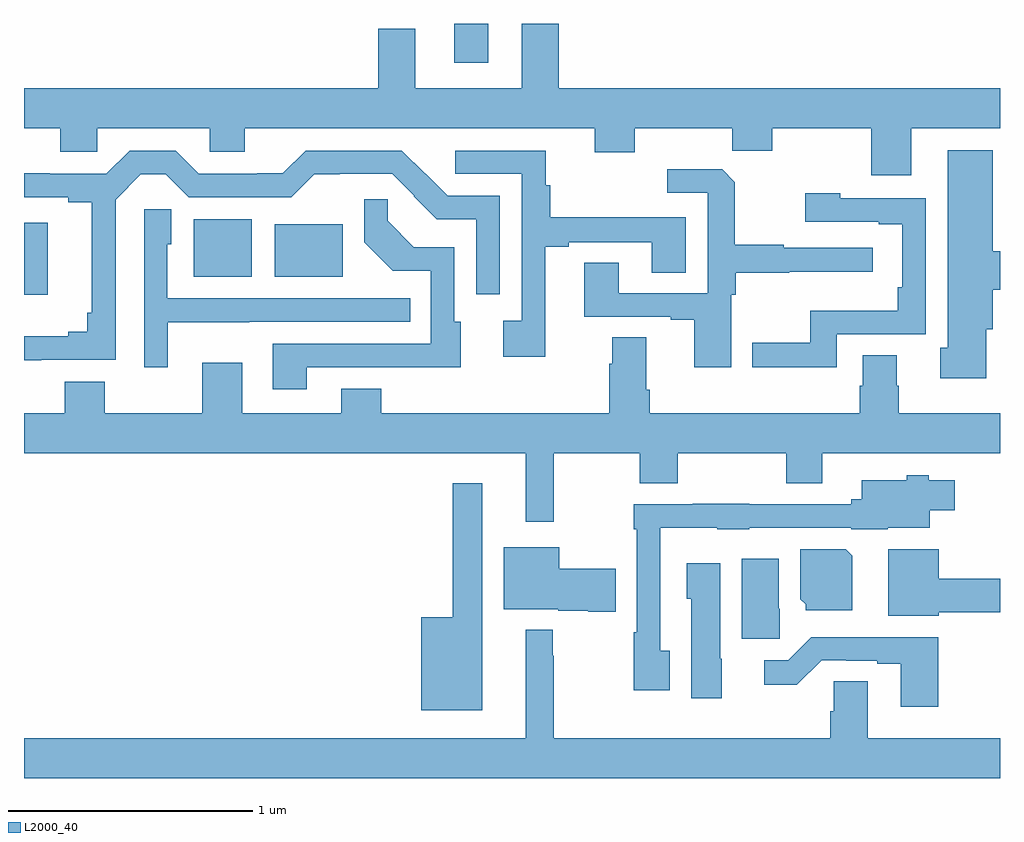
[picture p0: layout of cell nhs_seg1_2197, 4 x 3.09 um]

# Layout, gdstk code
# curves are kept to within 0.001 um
import gdstk
lib = gdstk.Library(unit=1e-6, precision=1e-09)
def R(c, l, rs):  # rectangles x0, y0, x1, y1
    for r in rs: c.add(gdstk.rectangle(r[:2], r[2:], *l))
def P(c, l, *ps):  # polygons
    for p in ps: c.add(gdstk.Polygon(p, *l))
L2000_40 = (2000, 40)

nhs_seg1_2197 = lib.new_cell('nhs_seg1_2197')
R(nhs_seg1_2197, L2000_40, [(231,511.088,231.097,511.384), (231.695,511.163,231.934,511.399), (232.028,511.163,232.306,511.378), (232.763,512.04,232.903,512.199)])
P(nhs_seg1_2197, L2000_40, [(233.192,512.199),(233.039,512.199),(233.039,511.936),(232.603,511.936),(232.603,512.179),(232.451,512.179),(232.451,511.936),(231,511.936),(231,511.772),(231.149,511.772),(231.149,511.674),(231.3,511.674),(231.3,511.772),(231.762,511.772),(231.762,511.674),(231.904,511.674),(231.904,511.772),(233.339,511.772),(233.339,511.673),(233.503,511.673),(233.503,511.772),(233.903,511.772),(233.903,511.679),(234.067,511.679),(234.067,511.772),(234.473,511.772),(234.473,511.578),(234.637,511.578),(234.637,511.772),(235,511.772),(235,511.936),(233.192,511.936)],
  [(234.943,510.948),(234.97,510.948),(234.97,511.109),(235,511.109),(235,511.267),(234.97,511.267),(234.97,511.681),(234.785,511.681),(234.785,510.872),(234.755,510.872),(234.755,510.746),(234.943,510.746)],
  [(233.137,511.285),(233.233,511.285),(233.233,511.305),(233.573,511.305),(233.573,511.18),(233.713,511.18),(233.713,511.406),(233.156,511.406),(233.156,511.538),(233.138,511.538),(233.138,511.68),(232.767,511.68),(232.767,511.584),(233.04,511.584),(233.04,510.982),(232.965,510.982),(232.965,510.834),(233.137,510.834)],
  [(231.071,510.822),(231.375,510.822),(231.375,511.479),(231.479,511.583),(231.58,511.583),(231.675,511.488),(232.095,511.488),(232.19,511.583),(232.509,511.584),(232.599,511.494),(232.597,511.492),(232.691,511.398),(232.854,511.398),(232.854,511.092),(232.95,511.092),(232.95,511.494),(232.737,511.494),(232.549,511.68),(232.155,511.68),(232.061,511.586),(231.956,511.586),(231.956,511.584),(231.717,511.584),(231.621,511.68),(231.434,511.68),(231.338,511.584),(231.105,511.584),(231.105,511.586),(231,511.586),(231,511.488),(231.182,511.488),(231.182,511.468),(231.278,511.468),(231.278,511.015),(231.259,511.015),(231.259,510.938),(231.182,510.938),(231.182,510.919),(231,510.919),(231,510.821)],
  [(233.898,511.088),(233.918,511.088),(233.918,511.18),(234.137,511.18),(234.137,511.184),(234.478,511.184),(234.478,511.281),(234.113,511.281),(234.113,511.294),(233.913,511.294),(233.913,511.551),(233.861,511.603),(233.637,511.603),(233.637,511.506),(233.802,511.506),(233.802,511.095),(233.437,511.095),(233.437,511.22),(233.297,511.22),(233.297,510.999),(233.651,510.999),(233.651,510.987),(233.747,510.987),(233.747,510.792),(233.898,510.792)],
  [(234.33,510.927),(234.696,510.927),(234.696,511.485),(234.345,511.485),(234.345,511.504),(234.201,511.504),(234.201,511.389),(234.503,511.389),(234.503,511.377),(234.6,511.377),(234.6,511.12),(234.58,511.12),(234.58,511.024),(234.222,511.024),(234.222,510.893),(233.985,510.893),(233.985,510.791),(234.33,510.791)],
  [(232.159,510.792),(232.789,510.791),(232.789,510.978),(232.764,510.978),(232.764,511.284),(232.598,511.284),(232.49,511.392),(232.49,511.48),(232.395,511.48),(232.395,511.304),(232.511,511.188),(232.668,511.188),(232.668,510.888),(232.019,510.888),(232.019,510.702),(232.159,510.702)],
  [(231.589,510.977),(231.923,510.977),(231.923,510.978),(232.583,510.978),(232.583,511.074),(231.588,511.074),(231.588,511.296),(231.604,511.296),(231.604,511.439),(231.492,511.439),(231.492,510.792),(231.589,510.792)],
  [(234.577,510.717),(234.577,510.842),(234.437,510.842),(234.437,510.717),(234.425,510.717),(234.425,510.604),(233.564,510.604),(233.564,510.7),(233.551,510.7),(233.551,510.914),(233.411,510.914),(233.411,510.806),(233.399,510.806),(233.399,510.604),(232.465,510.604),(232.465,510.703),(232.301,510.703),(232.301,510.604),(231.895,510.604),(231.895,510.811),(231.731,510.811),(231.731,510.604),(231.331,510.604),(231.331,510.733),(231.167,510.733),(231.167,510.604),(231,510.604),(231,510.44),(233.057,510.44),(233.057,510.159),(233.171,510.159),(233.171,510.44),(233.524,510.44),(233.524,510.316),(233.679,510.316),(233.679,510.44),(234.124,510.44),(234.124,510.316),(234.271,510.316),(234.271,510.44),(235,510.44),(235,510.604),(234.585,510.604),(234.585,510.717)],
  [(233.647,509.63),(233.607,509.63),(233.607,510.134),(233.841,510.134),(233.841,510.128),(233.973,510.128),(233.973,510.135),(234.39,510.135),(234.39,510.128),(234.54,510.128),(234.54,510.134),(234.712,510.134),(234.712,510.206),(234.814,510.206),(234.814,510.328),(234.708,510.328),(234.708,510.349),(234.618,510.349),(234.618,510.328),(234.434,510.328),(234.434,510.25),(234.39,510.25),(234.39,510.231),(233.973,510.231),(233.973,510.233),(233.741,510.233),(233.741,510.231),(233.499,510.231),(233.499,510.128),(233.511,510.128),(233.511,509.705),(233.499,509.705),(233.499,509.469),(233.647,509.469)],
  [(232.879,510.316),(232.758,510.316),(232.758,509.767),(232.628,509.767),(232.628,509.387),(232.879,509.387)],
  [(233.425,509.967),(233.194,509.967),(233.194,510.055),(232.967,510.055),(232.967,509.801),(233.19,509.801),(233.19,509.794),(233.312,509.794),(233.312,509.789),(233.425,509.789)],
  [(234.394,510.02),(234.368,510.046),(234.182,510.046),(234.182,509.842),(234.204,509.82),(234.204,509.795),(234.394,509.795)],
  [(234.748,509.788),(235,509.788),(235,509.924),(234.748,509.924),(234.748,510.046),(234.542,510.046),(234.542,509.774),(234.748,509.774)],
  [(234.098,509.802),(234.094,509.802),(234.094,510.007),(233.942,510.007),(233.942,509.679),(234.098,509.679)],
  [(233.86,509.598),(233.854,509.598),(233.854,509.989),(233.717,509.989),(233.717,509.844),(233.735,509.844),(233.735,509.436),(233.86,509.436)],
  [(235,509.272),(234.457,509.272),(234.457,509.504),(234.318,509.504),(234.318,509.382),(234.305,509.382),(234.305,509.272),(233.171,509.272),(233.171,509.609),(233.167,509.609),(233.167,509.716),(233.057,509.716),(233.057,509.272),(231,509.272),(231,509.108),(235,509.108)],
  [(234.746,509.686),(234.226,509.686),(234.132,509.592),(234.033,509.592),(234.033,509.49),(234.168,509.49),(234.27,509.592),(234.37,509.592),(234.37,509.589),(234.497,509.589),(234.497,509.577),(234.593,509.577),(234.593,509.4),(234.746,509.4)])

lib.write_gds('nhs_seg1_2197.gds')
